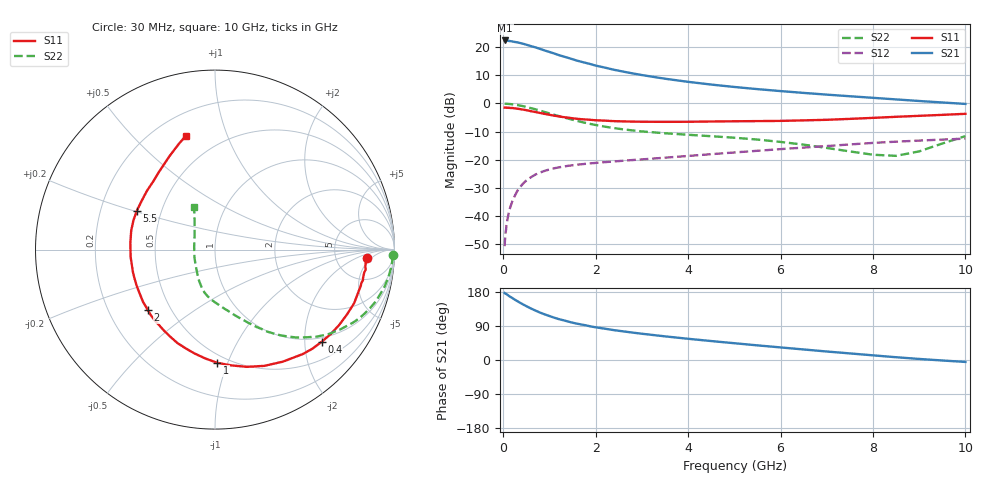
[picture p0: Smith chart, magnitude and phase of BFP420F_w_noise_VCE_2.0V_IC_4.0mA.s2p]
! Infineon Technologies  Discrete & RF Semiconductors
! BFP420F
! VCE =  2.0 V,  IC =  4.0 mA
! Common Emitter S-Parameters:  Sep 2011
# GHz  S  MA  R  50
!  f  S11  S21  S12  S22
! GHz  MAG  ANG  MAG  ANG  MAG  ANG  MAG  ANG
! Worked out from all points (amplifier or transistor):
!   54 points, 30 MHz to 10 GHz, reference 50 ohm
!   highest |S21| = 22.4 dB at 40 MHz (marker M1)
!   |S21| within 3 dB of that: start of sweep to 797 MHz
!   unconditionally stable (mu >= 1): 2.698 GHz to end of sweep
!   at 120 MHz: K = 0.05, MSG = 30.6 dB, |S12| = -38.9 dB
!   at 1.3 GHz: K = 0.48, MSG = 19.6 dB, |S12| = -22.4 dB
!   at 10 GHz: K = 1.41, MAG = 2.4 dB, |S12| = -12.5 dB
!   lowest NFmin = 0.90 dB at 450 MHz
!   S11 on the Smith chart (normalised r, x): 30 MHz: 11, -4; 400 MHz: 0.89, -2.39; 1 GHz: 0.44, -0.92; 2 GHz: 0.37, -0.34; 5.5 GHz: 0.36, +0.21; 10 GHz: 0.33, +0.73
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0.03  0.8465 -3.3  13.2 176.9  0.0029 89.9  0.9911 -1.9
0.04  0.846 -4.3  13.22 176.0  0.0039 87.9  0.9905 -2.5
0.1  0.8398 -10.9  13.14 171.0  0.0095 85.6  0.9854 -6.2
0.11  0.8418 -11.7  12.97 170.4  0.0104 84.6  0.9836 -6.7
0.25  0.8193 -26.2  12.43 159.3  0.0228 77.2  0.9539 -15.0
0.4  0.7854 -40.9  11.7 148.6  0.0353 70.1  0.9069 -23.1
0.5  0.76 -50.0  11.11 142.1  0.0426 65.9  0.8688 -28.0
0.7  0.7037 -67.0  9.939 130.3  0.0546 58.5  0.7873 -36.8
0.8  0.6769 -74.8  9.343 124.9  0.0593 55.3  0.7452 -40.6
1  0.631 -88.8  8.253 116.0  0.0672 50.3  0.6675 -47.2
1.2  0.5896 -101.2  7.272 108.0  0.0731 46.3  0.5986 -52.8
1.3  0.5736 -106.7  6.871 104.9  0.0755 44.8  0.5686 -55.2
1.5  0.5454 -117.2  6.132 98.4  0.0797 42.3  0.5139 -59.5
1.7  0.5245 -126.0  5.497 93.5  0.0832 40.5  0.4678 -63.6
2  0.5036 -137.8  4.724 86.3  0.0877 38.6  0.4142 -69.1
2.6  0.4804 -155.4  3.686 75.5  0.0959 36.9  0.3463 -78.4
3.5  0.4718 -175.2  2.76 62.4  0.1087 36.3  0.2954 -89.5
4.5  0.4785 167.4  2.172 50.0  0.1255 35.6  0.2619 -99.3
5.5  0.4863 153.5  1.802 38.6  0.1442 34.0  0.2283 -108.3
7  0.5129 132.0  1.438 22.4  0.175 30.0  0.162 -128.1
8.5  0.5799 115.8  1.182 7.3  0.2095 23.2  0.1171 172.3
10  0.6553 104.2  0.983 -5.1  0.2371 15.8  0.2627 116.2
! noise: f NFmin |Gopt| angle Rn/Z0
0.45  0.9  0.29  15  0.18
0.9  0.93  0.3  37  0.18
1.9  1.14  0.23  96  0.14
2.4  1.24  0.24  105  0.15
3.5  1.56  0.28  144  0.16
